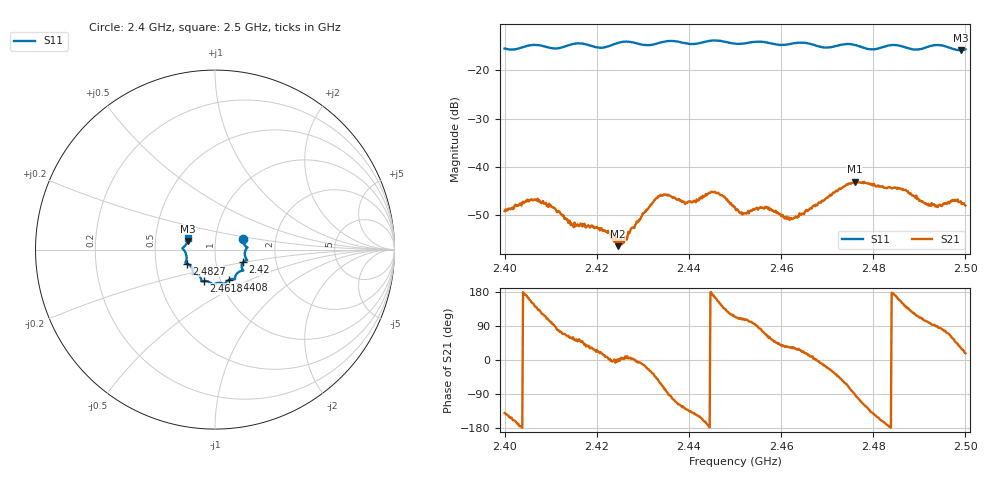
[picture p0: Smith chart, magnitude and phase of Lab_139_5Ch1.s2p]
# Hz S RI R 50
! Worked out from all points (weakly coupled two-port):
!   601 points, 2.4 GHz to 2.5 GHz, reference 50 ohm
!   highest |S21| = -43.02 dB at 2.476 GHz (marker M1); lowest = -56.3 dB at 2.4245 GHz (marker M2)
!   lowest |S11| = -15.9 dB at 2.499 GHz (marker M3), VSWR 1.38, Z = 36.6 + j3.61 ohm
!   |S11| at or under -10 dB: start of sweep to end of sweep
!   S12 and S22 are empty: the file has one direction only
!   S11 on the Smith chart (normalised r, x): 2.4 GHz: 1.35, +0.17; 2.42 GHz: 1.36, -0.19; 2.4408 GHz: 1.10, -0.38; 2.4618 GHz: 0.83, -0.30; 2.4827 GHz: 0.72, -0.12; 2.5 GHz: 0.73, +0.09
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2.4e9  0.1548 0.0616  -0.0027 -0.00226  0 0  0 0
2.407e9  0.1811 0.0118  -0.00333 0.00304  0 0  0 0
2.414833e9  0.1773 -0.0558  0.00126 0.00218  0 0  0 0
2.416667e9  0.1786 -0.0586  0.0017 0.0019  0 0  0 0
2.42e9  0.1568 -0.069  0.00216 0.00109  0 0  0 0
2.4245e9  0.154 -0.1117  0.00152 -0.000118  0 0  0 0
2.426e9  0.1578 -0.1169  0.00173 0.000105  0 0  0 0
2.433333e9  0.1116 -0.1528  0.00297 -0.00401  0 0  0 0
2.440833e9  0.078 -0.1685  -0.00331 -0.00284  0 0  0 0
2.445333e9  0.0533 -0.1946  -0.00542 0.000863  0 0  0 0
2.45e9  0.027 -0.185  -0.00157 0.00351  0 0  0 0
2.452167e9  0.00475 -0.1886  -0.000885 0.0032  0 0  0 0
2.456833e9  -0.0166 -0.1921  0.00151 0.00358  0 0  0 0
2.461833e9  -0.0612 -0.175  0.00237 0.00156  0 0  0 0
2.466667e9  -0.0761 -0.1683  0.00369 0.000556  0 0  0 0
2.476e9  -0.1253 -0.1315  -8.55e-05 -0.00706  0 0  0 0
2.482667e9  -0.1581 -0.0779  -0.00596 -0.00126  0 0  0 0
2.483333e9  -0.162 -0.0767  -0.00615 -0.000679  0 0  0 0
2.487e9  -0.1603 -0.0607  -0.00462 0.00354  0 0  0 0
2.492e9  -0.1745 -0.000921  -0.000613 0.00413  0 0  0 0
2.499e9  -0.1529 0.0481  0.00376 0.00234  0 0  0 0
2.5e9  -0.151 0.063  0.00381 0.0012  0 0  0 0
